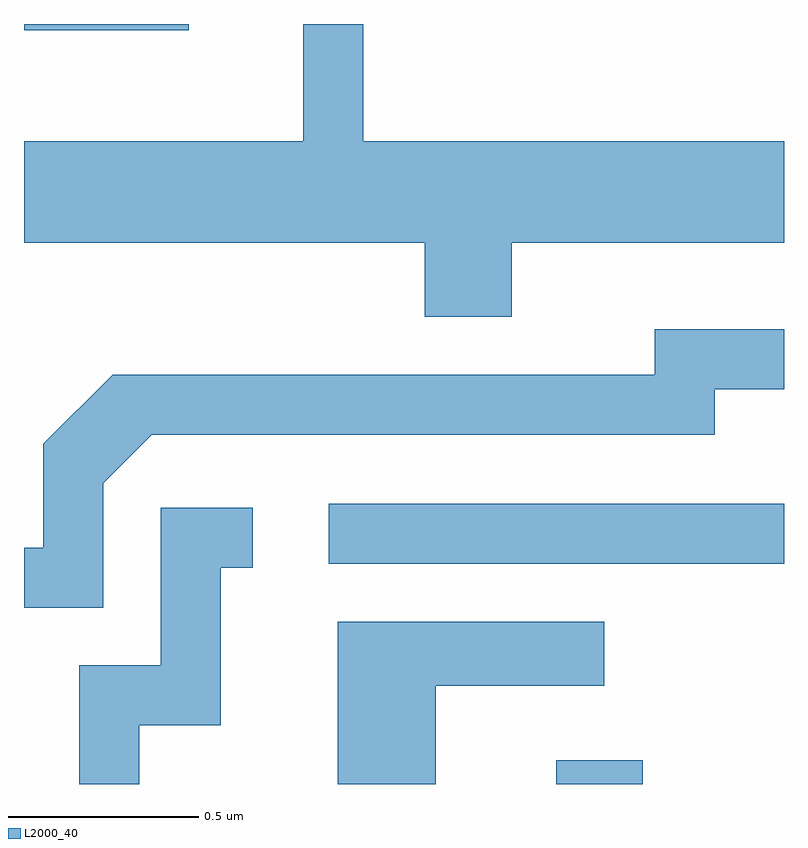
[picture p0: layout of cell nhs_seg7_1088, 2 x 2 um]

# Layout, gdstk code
import gdstk
lib = gdstk.Library(unit=1e-6, precision=1e-09)
def R(c, l, rs):  # rectangles x0, y0, x1, y1
    for r in rs: c.add(gdstk.rectangle(r[:2], r[2:], *l))
def P(c, l, *ps):  # polygons
    for p in ps: c.add(gdstk.Polygon(p, *l))
L2000_40 = (2000, 40)

nhs_seg7_1088 = lib.new_cell('nhs_seg7_1088')
R(nhs_seg7_1088, L2000_40, [(194.011,1797.252,194.239,1797.314), (193.413,1797.831,194.611,1797.989), (192.611,1799.236,193.044,1799.252)])
P(nhs_seg7_1088, L2000_40, [(193.894,1798.676),(194.611,1798.676),(194.611,1798.944),(193.504,1798.944),(193.504,1799.252),(193.346,1799.252),(193.346,1798.944),(192.611,1798.944),(192.611,1798.676),(193.666,1798.676),(193.666,1798.481),(193.894,1798.481)],
  [(192.819,1798.044),(192.947,1798.171),(194.429,1798.171),(194.429,1798.291),(194.611,1798.291),(194.611,1798.449),(194.271,1798.449),(194.271,1798.329),(192.844,1798.329),(192.661,1798.147),(192.661,1797.874),(192.611,1797.874),(192.611,1797.716),(192.819,1797.716)],
  [(192.914,1797.406),(193.129,1797.406),(193.129,1797.821),(193.213,1797.821),(193.213,1797.979),(192.971,1797.979),(192.971,1797.564),(192.756,1797.564),(192.756,1797.252),(192.914,1797.252)],
  [(193.694,1797.511),(194.138,1797.511),(194.138,1797.679),(193.436,1797.679),(193.436,1797.252),(193.694,1797.252)])

lib.write_gds('nhs_seg7_1088.gds')
